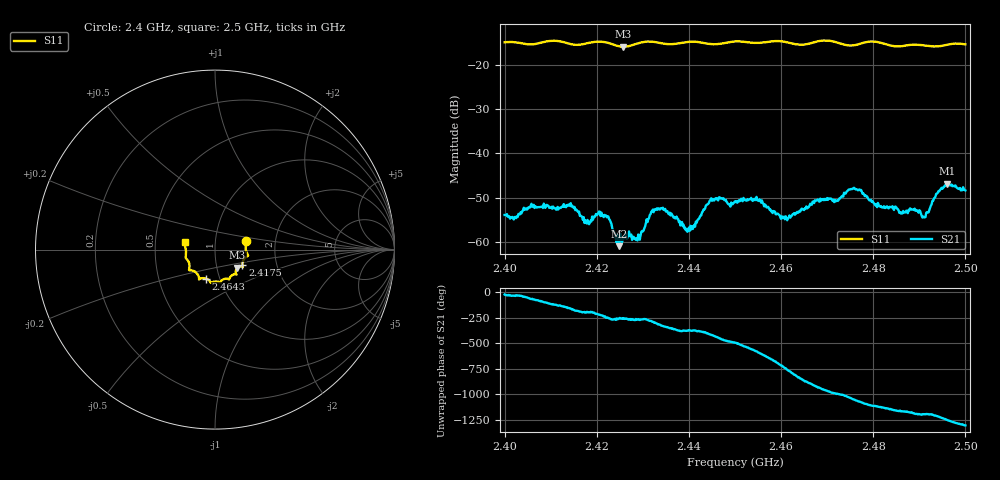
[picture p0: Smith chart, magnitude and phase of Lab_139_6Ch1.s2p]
# Hz S RI R 50
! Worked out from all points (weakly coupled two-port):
!   601 points, 2.4 GHz to 2.5 GHz, reference 50 ohm
!   highest |S21| = -46.79 dB at 2.496 GHz (marker M1); lowest = -60.9 dB at 2.4248 GHz (marker M2)
!   lowest |S11| = -15.9 dB at 2.4257 GHz (marker M3), VSWR 1.38, Z = 62.6 - j13.1 ohm
!   |S11| at or under -10 dB: start of sweep to end of sweep
!   S12 and S22 are empty: the file has one direction only
!   S11 on the Smith chart (normalised r, x): 2.4 GHz: 1.41, +0.15; 2.4175 GHz: 1.34, -0.23; 2.4643 GHz: 0.86, -0.29; 2.5 GHz: 0.71, +0.06
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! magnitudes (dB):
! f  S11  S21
! 2.4 GHz  -14.9  -53.9
! 2.414 GHz  -15.2  -51.7
! 2.4167 GHz  -15.4  -54.2
! 2.4175 GHz  -15.2  -55.0
! 2.4222 GHz  -14.9  -54.4
! 2.4248 GHz  -15.8  -60.9
! 2.4257 GHz  -15.9  -59.1
! 2.429 GHz  -15.1  -58.3
! 2.432 GHz  -14.7  -53.0
! 2.4333 GHz  -15.0  -52.4
! 2.4397 GHz  -14.8  -57.7
! 2.4448 GHz  -15.3  -50.1
! 2.45 GHz  -14.7  -50.8
! 2.455 GHz  -15.0  -50.5
! 2.4608 GHz  -14.8  -54.9
! 2.4643 GHz  -15.4  -52.7
! 2.4667 GHz  -15.0  -51.6
! 2.4758 GHz  -15.6  -47.7
! 2.4833 GHz  -15.5  -52.4
! 2.491 GHz  -15.6  -54.4
! 2.496 GHz  -15.5  -46.8
! 2.5 GHz  -15.4  -48.4
